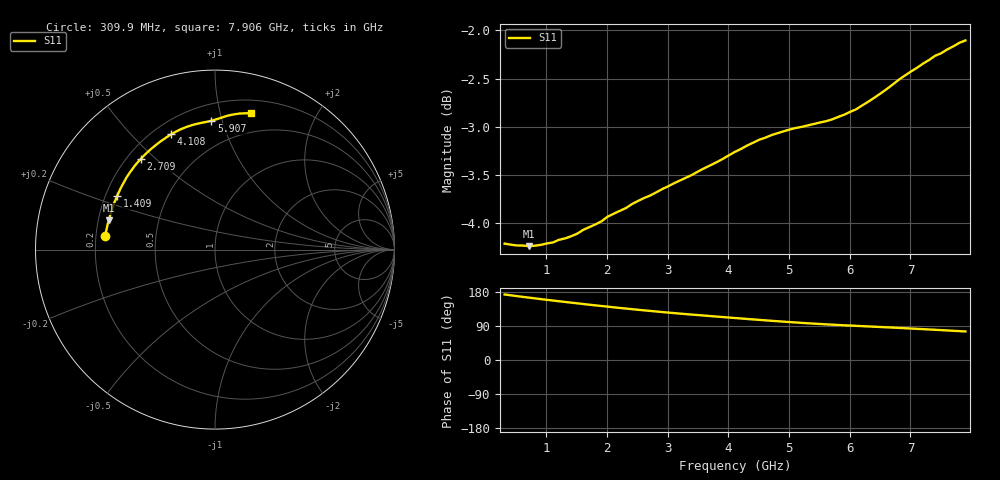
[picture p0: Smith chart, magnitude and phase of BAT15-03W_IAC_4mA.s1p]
! Infineon Technologies  Discrete & RF Semiconductors
! BAT15-03W-E6327
! IAC = 4 mA
! One-Port S-Parameters
# Hz  S  MA  R  50
!f  S11
!Hz  Mag  Ang
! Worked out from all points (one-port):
!   77 points, 309.9 MHz to 7.906 GHz, reference 50 ohm
!   lowest |S11| = -4.2 dB at 709.6 MHz (marker M1), VSWR 4.18, Z = 12.2 + j6.37 ohm
!   |S11| at or under -10 dB: nowhere
!   S11 on the Smith chart (normalised r, x): 309.9 MHz: 0.24, +0.06; 1.409 GHz: 0.25, +0.24; 2.709 GHz: 0.25, +0.45; 4.108 GHz: 0.27, +0.66; 5.907 GHz: 0.31, +0.92; 7.906 GHz: 0.32, +1.25
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3.0985e8  0.6159 172.9
6.097e8  0.6146 166.6
7.0965e8  0.6141 164.6
1.0095e9  0.6161 158.8
1.30935e9  0.6198 153.1
1.4093e9  0.6214 151.3
1.6092e9  0.6262 147.7
1.70915e9  0.6282 145.8
2.009e9  0.6361 140.7
2.2089e9  0.6405 137.4
2.50875e9  0.6481 132.6
2.70865e9  0.6523 129.5
2.90855e9  0.6573 126.6
3.2084e9  0.6643 122.4
3.6082e9  0.6741 117.1
4.10795e9  0.6872 110.8
4.50775e9  0.6972 105.9
4.70765e9  0.701 103.5
5.10745e9  0.707 99.0
5.30735e9  0.7092 96.9
5.50725e9  0.7117 95.0
5.90705e9  0.7183 91.6
6.007e9  0.7208 90.9
6.50675e9  0.7367 87.1
7.0065e9  0.7562 83.1
7.4063e9  0.7706 79.7
7.8061e9  0.7826 76.2
7.90605e9  0.7848 75.3
